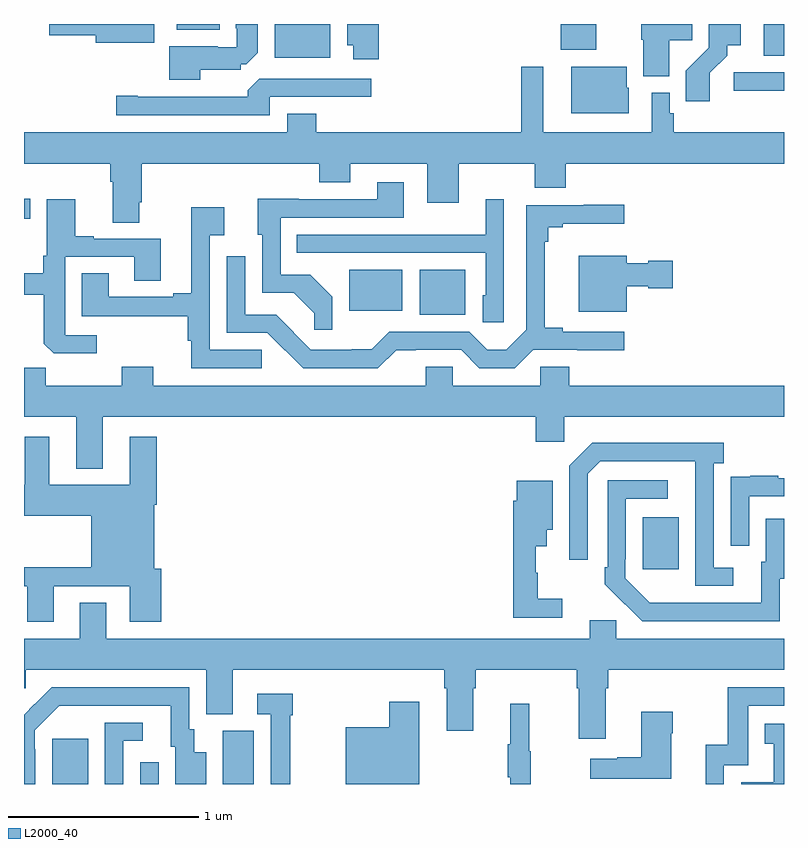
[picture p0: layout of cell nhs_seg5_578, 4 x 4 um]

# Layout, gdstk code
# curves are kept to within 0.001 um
import gdstk
lib = gdstk.Library(unit=1e-6, precision=1e-09)
def R(c, l, rs):  # rectangles x0, y0, x1, y1
    for r in rs: c.add(gdstk.rectangle(r[:2], r[2:], *l))
def P(c, l, *ps):  # polygons
    for p in ps: c.add(gdstk.Polygon(p, *l))
L2000_40 = (2000, 40)

nhs_seg5_578 = lib.new_cell('nhs_seg5_578')
R(nhs_seg5_578, L2000_40, [(147.149,882.799,147.337,883.036), (147.612,882.799,147.708,882.913), (148.046,882.799,148.21,883.08), (150.257,883.929,150.445,884.203), (149.084,885.269,149.323,885.505), (148.712,885.29,148.99,885.505), (147,885.775,147.034,885.878), (148.319,886.622,148.612,886.799), (150.893,886.632,151,886.799), (149.826,886.664,150.012,886.799), (147.803,886.769,148.03,886.799)])
P(nhs_seg5_578, L2000_40, [(150.61,886.543),(150.7,886.633),(150.7,886.688),(150.772,886.688),(150.772,886.799),(150.603,886.799),(150.603,886.673),(150.484,886.554),(150.484,886.392),(150.61,886.392)],
  [(150.397,886.714),(150.518,886.714),(150.518,886.799),(150.248,886.799),(150.248,886.716),(150.26,886.716),(150.26,886.523),(150.397,886.523)],
  [(147.685,886.799),(147.132,886.799),(147.132,886.739),(147.377,886.739),(147.377,886.7),(147.685,886.7)],
  [(148.868,886.799),(148.7,886.799),(148.7,886.688),(148.733,886.688),(148.733,886.614),(148.868,886.614)],
  [(147.928,886.559),(148.14,886.559),(148.14,886.587),(148.171,886.587),(148.231,886.647),(148.231,886.799),(148.115,886.799),(148.115,886.777),(148.119,886.777),(148.119,886.677),(148.019,886.677),(148.019,886.681),(147.764,886.681),(147.764,886.505),(147.928,886.505)],
  [(150.184,886.464),(150.172,886.464),(150.172,886.573),(149.879,886.573),(149.879,886.328),(150.184,886.328)],
  [(147.607,885.862),(147.62,885.862),(147.62,886.064),(148.553,886.064),(148.553,885.965),(148.717,885.965),(148.717,886.064),(149.123,886.064),(149.123,885.858),(149.287,885.858),(149.287,886.064),(149.687,886.064),(149.687,885.936),(149.851,885.936),(149.851,886.064),(151,886.064),(151,886.228),(150.419,886.228),(150.419,886.329),(150.399,886.329),(150.399,886.438),(150.303,886.438),(150.303,886.228),(149.734,886.228),(149.734,886.573),(149.617,886.573),(149.617,886.228),(148.538,886.228),(148.538,886.327),(148.385,886.327),(148.385,886.228),(147,886.228),(147,886.064),(147.455,886.064),(147.455,885.968),(147.467,885.968),(147.467,885.754),(147.607,885.754)],
  [(150.959,886.449),(151,886.449),(151,886.545),(150.735,886.545),(150.735,886.447),(150.959,886.447)],
  [(148.293,886.416),(148.828,886.416),(148.828,886.512),(148.239,886.512),(148.178,886.45),(148.178,886.416),(147.598,886.416),(147.598,886.421),(147.486,886.421),(147.486,886.32),(148.293,886.32)],
  [(148.623,885.364),(148.507,885.48),(148.35,885.48),(148.35,885.78),(148.999,885.78),(148.999,885.967),(148.859,885.967),(148.859,885.876),(148.447,885.876),(148.447,885.878),(148.229,885.878),(148.229,885.69),(148.254,885.69),(148.254,885.384),(148.42,885.384),(148.528,885.276),(148.528,885.189),(148.623,885.189)],
  [(149.526,885.877),(149.429,885.877),(149.429,885.691),(149.095,885.691),(149.095,885.69),(148.435,885.69),(148.435,885.594),(149.43,885.594),(149.43,885.372),(149.414,885.372),(149.414,885.229),(149.526,885.229)],
  [(147.382,885.162),(147.216,885.162),(147.216,885.573),(147.581,885.573),(147.581,885.448),(147.721,885.448),(147.721,885.669),(147.367,885.669),(147.367,885.682),(147.271,885.682),(147.271,885.877),(147.12,885.877),(147.12,885.58),(147.1,885.58),(147.1,885.488),(147,885.488),(147,885.375),(147.105,885.375),(147.105,885.117),(147.157,885.066),(147.382,885.066)],
  [(148.958,885.083),(149.301,885.084),(149.397,884.988),(149.584,884.988),(149.68,885.084),(150.16,885.083),(150.16,885.18),(149.836,885.18),(149.836,885.2),(149.741,885.2),(149.741,885.653),(149.759,885.653),(149.759,885.73),(149.836,885.73),(149.836,885.749),(150.16,885.749),(150.16,885.848),(149.947,885.848),(149.947,885.846),(149.643,885.846),(149.643,885.189),(149.539,885.085),(149.438,885.085),(149.343,885.18),(148.923,885.18),(148.829,885.086),(148.724,885.086),(148.724,885.084),(148.509,885.084),(148.419,885.174),(148.421,885.176),(148.327,885.27),(148.164,885.27),(148.164,885.577),(148.068,885.577),(148.068,885.174),(148.281,885.174),(148.469,884.988),(148.863,884.988)],
  [(148.251,885.084),(147.978,885.084),(147.978,885.686),(148.054,885.686),(148.054,885.835),(147.881,885.835),(147.881,885.383),(147.785,885.383),(147.785,885.363),(147.445,885.363),(147.445,885.488),(147.305,885.488),(147.305,885.262),(147.862,885.262),(147.862,885.131),(147.881,885.131),(147.881,884.988),(148.251,884.988)],
  [(150.172,885.419),(150.285,885.419),(150.285,885.407),(150.415,885.407),(150.415,885.554),(150.285,885.554),(150.285,885.541),(150.172,885.541),(150.172,885.58),(149.921,885.58),(149.921,885.284),(150.172,885.284)],
  [(147.415,884.732),(149.693,884.732),(149.693,884.601),(149.844,884.601),(149.844,884.732),(151,884.732),(151,884.896),(149.87,884.896),(149.87,884.994),(149.718,884.994),(149.718,884.896),(149.256,884.896),(149.256,884.994),(149.114,884.994),(149.114,884.896),(147.679,884.896),(147.679,884.995),(147.515,884.995),(147.515,884.896),(147.115,884.896),(147.115,884.989),(147,884.989),(147,884.732),(147.275,884.732),(147.275,884.459),(147.415,884.459)],
  [(147.157,883.839),(147.557,883.839),(147.557,883.653),(147.722,883.653),(147.722,883.932),(147.685,883.932),(147.685,884.27),(147.698,884.27),(147.698,884.626),(147.557,884.626),(147.557,884.374),(147.133,884.374),(147.133,884.626),(147.005,884.626),(147.005,884.374),(147,884.374),(147,884.21),(147.353,884.21),(147.353,883.94),(147,883.94),(147,883.839),(147.017,883.839),(147.017,883.653),(147.157,883.653)],
  [(150.733,883.938),(150.63,883.938),(150.63,884.486),(150.682,884.486),(150.682,884.596),(149.992,884.596),(149.871,884.475),(149.871,883.98),(149.967,883.98),(149.967,884.433),(150.033,884.499),(150.533,884.499),(150.534,883.842),(150.733,883.842)],
  [(150.816,884.313),(151,884.313),(151,884.409),(150.971,884.409),(150.971,884.422),(150.823,884.422),(150.823,884.415),(150.721,884.415),(150.721,884.306),(150.72,884.306),(150.72,884.052),(150.816,884.052)],
  [(150.978,883.878),(151,883.878),(151,884.194),(150.905,884.194),(150.905,883.968),(150.881,883.968),(150.881,883.752),(150.294,883.753),(150.165,883.881),(150.165,883.981),(150.168,883.981),(150.168,884.301),(150.388,884.301),(150.388,884.397),(150.072,884.397),(150.072,883.939),(150.057,883.939),(150.057,883.851),(150.254,883.656),(150.978,883.656)],
  [(149.833,883.775),(149.704,883.775),(149.704,883.911),(149.693,883.911),(149.693,884.051),(149.752,884.051),(149.752,884.138),(149.782,884.138),(149.782,884.395),(149.594,884.395),(149.594,884.291),(149.575,884.291),(149.575,883.674),(149.833,883.674)],
  [(150.061,883.304),(150.074,883.304),(150.074,883.4),(151,883.4),(151,883.564),(150.117,883.564),(150.117,883.662),(149.978,883.662),(149.978,883.564),(147.433,883.564),(147.433,883.754),(147.293,883.754),(147.293,883.564),(147,883.564),(147,883.302),(147.009,883.302),(147.009,883.4),(147.959,883.4),(147.959,883.165),(148.099,883.165),(148.099,883.4),(149.213,883.4),(149.213,883.304),(149.225,883.304),(149.225,883.08),(149.365,883.08),(149.365,883.304),(149.378,883.304),(149.378,883.4),(149.909,883.4),(149.909,883.304),(149.921,883.304),(149.921,883.038),(150.061,883.038)],
  [(150.684,882.897),(150.813,882.897),(150.813,883.212),(151,883.212),(151,883.308),(150.705,883.308),(150.705,883.006),(150.587,883.006),(150.587,882.799),(150.684,882.799)],
  [(147.06,882.983),(147.057,882.983),(147.057,883.083),(147.186,883.212),(147.773,883.212),(147.773,882.996),(147.797,882.996),(147.797,882.799),(147.958,882.799),(147.958,882.967),(147.895,882.967),(147.895,883.086),(147.87,883.086),(147.87,883.308),(147.146,883.308),(147,883.164),(147,882.799),(147.06,882.799)],
  [(148.4,883.16),(148.415,883.16),(148.415,883.273),(148.227,883.273),(148.227,883.167),(148.299,883.167),(148.299,882.799),(148.4,882.799)],
  [(149.08,883.231),(148.922,883.231),(148.922,883.099),(148.694,883.099),(148.694,882.799),(149.08,882.799)],
  [(149.668,882.972),(149.66,882.972),(149.66,883.222),(149.558,883.222),(149.558,883.009),(149.547,883.009),(149.547,882.835),(149.558,882.835),(149.558,882.799),(149.668,882.799)],
  [(150.406,883.067),(150.414,883.067),(150.414,883.18),(150.248,883.18),(150.248,882.941),(150.122,882.941),(150.122,882.931),(149.979,882.931),(149.979,882.827),(150.406,882.827)],
  [(147.522,883.026),(147.625,883.026),(147.625,883.122),(147.426,883.122),(147.426,882.799),(147.522,882.799)],
  [(151,883.117),(150.898,883.117),(150.898,883.011),(150.947,883.011),(150.947,882.807),(150.774,882.807),(150.774,882.799),(151,882.799)])

lib.write_gds('nhs_seg5_578.gds')
